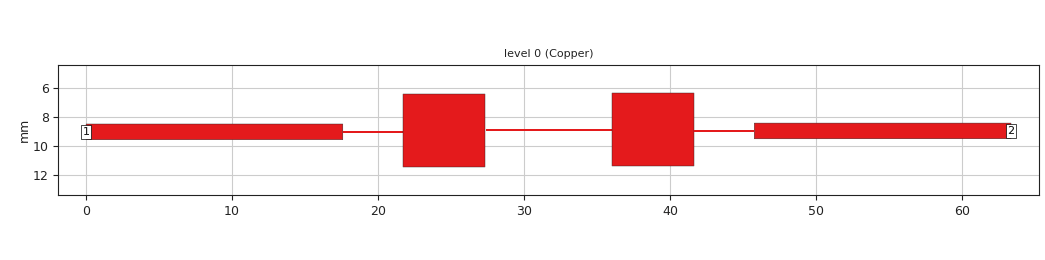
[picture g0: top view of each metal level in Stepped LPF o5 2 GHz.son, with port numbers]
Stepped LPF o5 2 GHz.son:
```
FTYP SONPROJ 19 ! Sonnet Project File
VER 18.53
HEADER
LIC SL65ec19c8
DAT 03/28/2024 08:18:05
BUILT_BY_CREATED example 18.53 10/19/2021 01:59:07
BUILT_BY_SAVED sonnet 18.53-Lite
MDATE 03/28/2024 08:18:05
HDATE 03/28/2024 08:18:05
END HEADER
DIM
ANG DEG
CAP PF
CON /OH
FREQ GHZ
IND NH
LNG MM
RES OH
END DIM
CONTROL
VARSWP
OPTIONS  -d
SPEED 0
CACHE_ABS 2
Q_ACC N
END CONTROL
GEO
DRP1 LEFT FIX 9.0805
DRP1 RIGHT FIX 9.398
DRP1 BOTTOM FIX 4.064
TMET "Copper" 1 NOR 58000000 0.5 0.032 
BMET "Copper" 1 NOR 58000000 0.5 0.032 
MET "Copper" 1 NOR 58000000 0.5 0.032 
BOX 1 63.373 18.8595 1996 594 20 0
      10 1 1 0 0 0 2 "Air"
      0.508 3.55 1 0.0021 0 0 2 "RO4003C"
TECHLAY METAL Copper <UNSPECIFIED> -2 -65534 
0 0 0 N 366 1 1 100 100 0 0 0 Y
END
END
VALVAR L1 LNG 4.11 "Dim. Param."
VALVAR W1 LNG 0.1 "Dim. Param."
VALVAR W2 LNG 5 "Dim. Param."
VALVAR L3 NONE 8.62 ""
VALVAR L2 LNG 5.62 "Dim. Param."
DIM STD YDIR 1
POS -1.022708048 2.453717899
NOM 0.1
REF1 POLY 300 1
0
REF2 POLY 300 1
3
END
DIM STD YDIR -1
POS 4.917840297 -1.808250068
NOM 1.079
REF1 POLY 350 1
3
REF2 POLY 350 1
0
END
DIM STD YDIR -1
POS 4.917840297 -1.808250068
NOM 1.079
REF1 POLY 353 1
3
REF2 POLY 353 1
0
END
DIM STD YDIR 1
POS -1.022708048 2.453717899
NOM 0.1
REF1 POLY 413 1
0
REF2 POLY 413 1
3
END
DIM STD YDIR 1
POS -1.022708048 2.453717899
NOM 0.1
REF1 POLY 420 1
0
REF2 POLY 420 1
3
END
LORGN 0 18.8595 U 
POR1 BOX
POLY 350 1
3
1 50 0 0 0 0 9.018875 
POR1 BOX
POLY 353 1
1
2 50 0 0 0 63.373 8.9535 
NUM 7
0 5 0 N 300 1 1 100 100 0 0 0 Y
TLAYNAM Copper INH
17.5775 8.966
21.6875 8.966
21.6875 9.066
17.5775 9.066
17.5775 8.966
END
0 5 0 N 350 1 1 100 100 0 0 0 Y
TLAYNAM Copper INH
0 8.479375
17.5895 8.479375
17.5895 9.554625
0 9.558375
0 8.479375
END
0 5 0 N 353 1 1 100 100 0 0 0 Y
TLAYNAM Copper INH
45.7835 8.415875
63.373 8.415875
63.373 9.491125
45.7835 9.494875
45.7835 8.415875
END
0 5 0 N 407 1 1 100 100 0 0 0 Y
TLAYNAM Copper INH
21.73275 6.4535
27.35275 6.4535
27.35275 11.4535
21.73275 11.4535
21.73275 6.4535
END
0 5 0 N 413 1 1 100 100 0 0 0 Y
TLAYNAM Copper INH
27.3875 8.839
36.0075 8.839
36.0075 8.939
27.3875 8.939
27.3875 8.839
END
0 5 0 N 417 1 1 100 100 0 0 0 Y
TLAYNAM Copper INH
36.02025 6.3265
41.64025 6.3265
41.64025 11.3265
36.02025 11.3265
36.02025 6.3265
END
0 5 0 N 420 1 1 100 100 0 0 0 Y
TLAYNAM Copper INH
41.644 8.9025
45.754 8.9025
45.754 9.0025
41.644 9.0025
41.644 8.9025
END
END GEO
OPT
MAX 100
END OPT
VARSWP
ENABLED Y
FREQ Y AY ABS_ENTRY 0.1 8.0 -1 300 
VAR L3 N 6.88 6.88 UNDEF
VAR W1 N 2.03 2.03 UNDEF
VAR L2 N 16.8275 16.8275 UNDEF
VAR W2 N 4.064 4.064 UNDEF
VAR L1 N 4.11 4.11 UNDEF
END
END VARSWP
TRANSLATOR
END TRANSLATOR
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```
